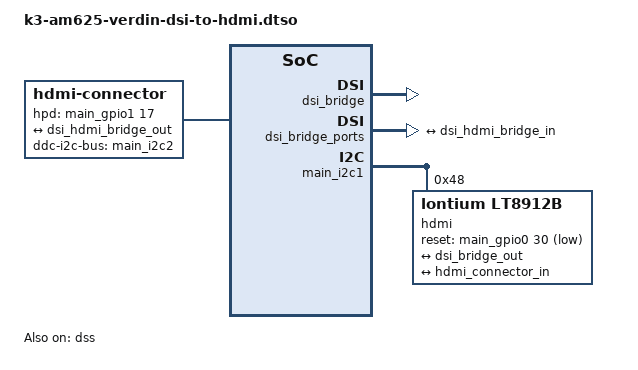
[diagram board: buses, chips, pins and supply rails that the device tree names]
// SPDX-License-Identifier: GPL-2.0-or-later OR MIT
/*
 * Copyright (c) Toradex
 *
 * Toradex DSI to HDMI Adapter on Verdin DSI_1
 *
 * https://developer.toradex.com/hardware/accessories/add-ons/dsi-hdmi-adapter
 */

/dts-v1/;
/plugin/;

#include <dt-bindings/gpio/gpio.h>

&{/} {
	hdmi-connector {
		compatible = "hdmi-connector";
		pinctrl-names = "default";
		pinctrl-0 = <&pinctrl_pwm3_dsi_gpio>;
		ddc-i2c-bus = <&main_i2c2>;
		/* Verdin PWM_3_DSI (SODIMM 19) */
		hpd-gpios = <&main_gpio1 17 GPIO_ACTIVE_HIGH>;
		type = "a";

		port {
			hdmi_connector_in: endpoint {
				remote-endpoint = <&dsi_hdmi_bridge_out>;
			};
		};
	};
};

&dsi_bridge {
	status = "okay";
};

&dsi_bridge_ports {
	#address-cells = <1>;
	#size-cells = <0>;

	port@1 {
		reg = <1>;

		dsi_bridge_out: endpoint {
			remote-endpoint = <&dsi_hdmi_bridge_in>;
		};
	};
};

&dss {
	status = "okay";
};

/* Verdin PWM_3_DSI (SODIMM 19) repurposed as HDMI HPD GPIO */
&epwm1 {
	status = "disabled";
};

/* Verdin I2C_1 */
&main_i2c1 {
	#address-cells = <1>;
	#size-cells = <0>;

	hdmi@48 {
		compatible = "lontium,lt8912b";
		reg = <0x48>;
		pinctrl-names = "default";
		pinctrl-0 = <&pinctrl_dsi1_bkl_en>;
		/* Verdin GPIO_10_DSI (SODIMM 21) */
		reset-gpios = <&main_gpio0 30 GPIO_ACTIVE_LOW>;

		ports {
			#address-cells = <1>;
			#size-cells = <0>;

			port@0 {
				reg = <0>;

				dsi_hdmi_bridge_in: endpoint {
					data-lanes = <1 2 3 4>;
					remote-endpoint = <&dsi_bridge_out>;
				};
			};

			port@1 {
				reg = <1>;

				dsi_hdmi_bridge_out: endpoint {
					remote-endpoint = <&hdmi_connector_in>;
				};
			};
		};
	};
};
